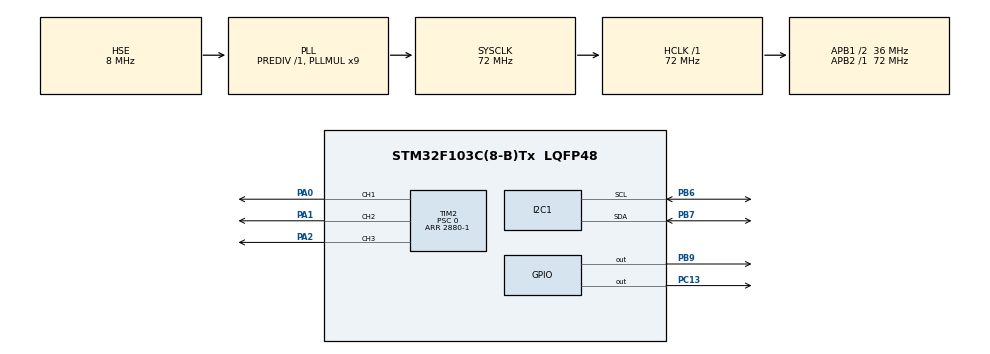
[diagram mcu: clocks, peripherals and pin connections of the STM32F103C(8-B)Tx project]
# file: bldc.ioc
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I2C1.I2C_Mode=I2C_Fast
Mcu.Family=STM32F1
Mcu.Name=STM32F103C(8-B)Tx
Mcu.Package=LQFP48
NVIC.PriorityGroup=NVIC_PRIORITYGROUP_4
NVIC.TIM4_IRQn=true\:0\:0\:false\:false\:true\:true\:true\:true
PA0-WKUP.Signal=S_TIM2_CH1_ETR
PA1.Signal=S_TIM2_CH2
PA13.Mode=Serial_Wire
PA13.Signal=SYS_JTMS-SWDIO
PA14.Mode=Serial_Wire
PA14.Signal=SYS_JTCK-SWCLK
PA2.Signal=S_TIM2_CH3
PB6.Mode=I2C
PB6.Signal=I2C1_SCL
PB7.Mode=I2C
PB7.Signal=I2C1_SDA
PB9.GPIO_PuPd=GPIO_NOPULL
PB9.GPIO_Speed=GPIO_SPEED_FREQ_LOW
PB9.PinState=GPIO_PIN_RESET
PB9.Signal=GPIO_Output
PC13-TAMPER-RTC.PinState=GPIO_PIN_SET
PC13-TAMPER-RTC.Signal=GPIO_Output
PD0-OSC_IN.Mode=HSE-External-Oscillator
PD0-OSC_IN.Signal=RCC_OSC_IN
PD1-OSC_OUT.Mode=HSE-External-Oscillator
PD1-OSC_OUT.Signal=RCC_OSC_OUT
ProjectManager.HeapSize=0x200
ProjectManager.StackSize=0x400
ProjectManager.TargetToolchain=MDK-ARM V5.32
RCC.AHBFreq_Value=72000000
RCC.APB1CLKDivider=RCC_HCLK_DIV2
RCC.APB1Freq_Value=36000000
RCC.APB1TimFreq_Value=72000000
RCC.APB2Freq_Value=72000000
RCC.APB2TimFreq_Value=72000000
RCC.HCLKFreq_Value=72000000
RCC.PLLMUL=RCC_PLL_MUL9
RCC.PLLSourceVirtual=RCC_PLLSOURCE_HSE
RCC.SYSCLKFreq_VALUE=72000000
RCC.SYSCLKSource=RCC_SYSCLKSOURCE_PLLCLK
RCC.USBFreq_Value=72000000
SH.S_TIM2_CH1_ETR.0=TIM2_CH1,PWM Generation1 CH1
SH.S_TIM2_CH2.0=TIM2_CH2,PWM Generation2 CH2
SH.S_TIM2_CH3.0=TIM2_CH3,PWM Generation3 CH3
TIM2.Channel-PWM\ Generation1\ CH1=TIM_CHANNEL_1
TIM2.Channel-PWM\ Generation2\ CH2=TIM_CHANNEL_2
TIM2.Channel-PWM\ Generation3\ CH3=TIM_CHANNEL_3
TIM2.Period=2880-1
TIM2.Prescaler=0
TIM4.Period=100-1
TIM4.Prescaler=720-1
VP_TIM4_VS_ClockSourceINT.Mode=Internal
board=custom

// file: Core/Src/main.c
/* USER CODE BEGIN Header */
/**
  ******************************************************************************
  * @file           : main.c
  * @brief          : Main program body
  ******************************************************************************
  * @attention
  *
  * Copyright (c) 2024 STMicroelectronics.
  * All rights reserved.
  *
  * This software is licensed under terms that can be found in the LICENSE file
  * in the root directory of this software component.
  * If no LICENSE file comes with this software, it is provided AS-IS.
  *
  ******************************************************************************
  */
/* USER CODE END Header */
#include "main.h"
#include "i2c.h"
#include "tim.h"
#include "gpio.h"

/* USER CODE BEGIN Includes */
#include "bldc.h"
#include "as5600.h"
#include "mymath.h"
/* USER CODE END Includes */

/* USER CODE BEGIN PTD */

unsigned int count=0;
unsigned char stemp=1;
uint16_t RawAngle=0;
float Angle=0;
dianya V;
Str_pid pid_ConAg;

/* USER CODE END PTD */

/* USER CODE BEGIN PD */

/* 1ms */
void HAL_TIM_PeriodElapsedCallback(TIM_HandleTypeDef *htim)
{
	count++;
	if(count>=3000)
	{
		count=0;
		stemp++;
	}

}

/* USER CODE END PD */

void SystemClock_Config(void);

int main(void)
{

  /* MCU Configuration--------------------------------------------------------*/

  /* Reset of all peripherals, Initializes the Flash interface and the Systick. */
  HAL_Init();

  /* Configure the system clock */
  SystemClock_Config();

  /* Initialize all configured peripherals */
  MX_GPIO_Init();
  MX_TIM2_Init();
  MX_TIM4_Init();
  MX_I2C1_Init();
  /* USER CODE BEGIN 2 */

	HAL_TIM_PWM_Start(&htim2,TIM_CHANNEL_1);
	HAL_TIM_PWM_Start(&htim2,TIM_CHANNEL_2);
	HAL_TIM_PWM_Start(&htim2,TIM_CHANNEL_3);
	HAL_TIM_Base_Start_IT(&htim4);

    pid_ConAg.Kp = 0.025;pid_ConAg.Ki = 0;pid_ConAg.Kd = 0;
	bsp_as5600Init();

	HAL_GPIO_WritePin(GPIOB,GPIO_PIN_9,GPIO_PIN_SET);

	bldc_start();

	TIM2->CCR1=0;
	TIM2->CCR2=0;
	TIM2->CCR3=0;

  /* USER CODE END 2 */

  /* Infinite loop */
  while (1)
  {

    /* USER CODE BEGIN 3 */
	if(stemp==1)setTorque(1,&V);
	else if(stemp==2)setTorque(-1,&V);
	else if(stemp>=3)foc_ControlAngle(0,&pid_ConAg,&V);

  }
  /* USER CODE END 3 */
}

void SystemClock_Config(void)
{
  RCC_OscInitTypeDef RCC_OscInitStruct = {0};
  RCC_ClkInitTypeDef RCC_ClkInitStruct = {0};

  /** Initializes the RCC Oscillators according to the specified parameters
  * in the RCC_OscInitTypeDef structure.
  */
  RCC_OscInitStruct.OscillatorType = RCC_OSCILLATORTYPE_HSE;
  RCC_OscInitStruct.HSEState = RCC_HSE_ON;
  RCC_OscInitStruct.HSEPredivValue = RCC_HSE_PREDIV_DIV1;
  RCC_OscInitStruct.HSIState = RCC_HSI_ON;
  RCC_OscInitStruct.PLL.PLLState = RCC_PLL_ON;
  RCC_OscInitStruct.PLL.PLLSource = RCC_PLLSOURCE_HSE;
  RCC_OscInitStruct.PLL.PLLMUL = RCC_PLL_MUL9;
  if (HAL_RCC_OscConfig(&RCC_OscInitStruct) != HAL_OK)
  {
    Error_Handler();
  }

  /** Initializes the CPU, AHB and APB buses clocks
  */
  RCC_ClkInitStruct.ClockType = RCC_CLOCKTYPE_HCLK|RCC_CLOCKTYPE_SYSCLK
                              |RCC_CLOCKTYPE_PCLK1|RCC_CLOCKTYPE_PCLK2;
  RCC_ClkInitStruct.SYSCLKSource = RCC_SYSCLKSOURCE_PLLCLK;
  RCC_ClkInitStruct.AHBCLKDivider = RCC_SYSCLK_DIV1;
  RCC_ClkInitStruct.APB1CLKDivider = RCC_HCLK_DIV2;
  RCC_ClkInitStruct.APB2CLKDivider = RCC_HCLK_DIV1;

  if (HAL_RCC_ClockConfig(&RCC_ClkInitStruct, FLASH_LATENCY_2) != HAL_OK)
  {
    Error_Handler();
  }
}

void Error_Handler(void)
{
  __disable_irq();
  while (1)
  {
  }
}
